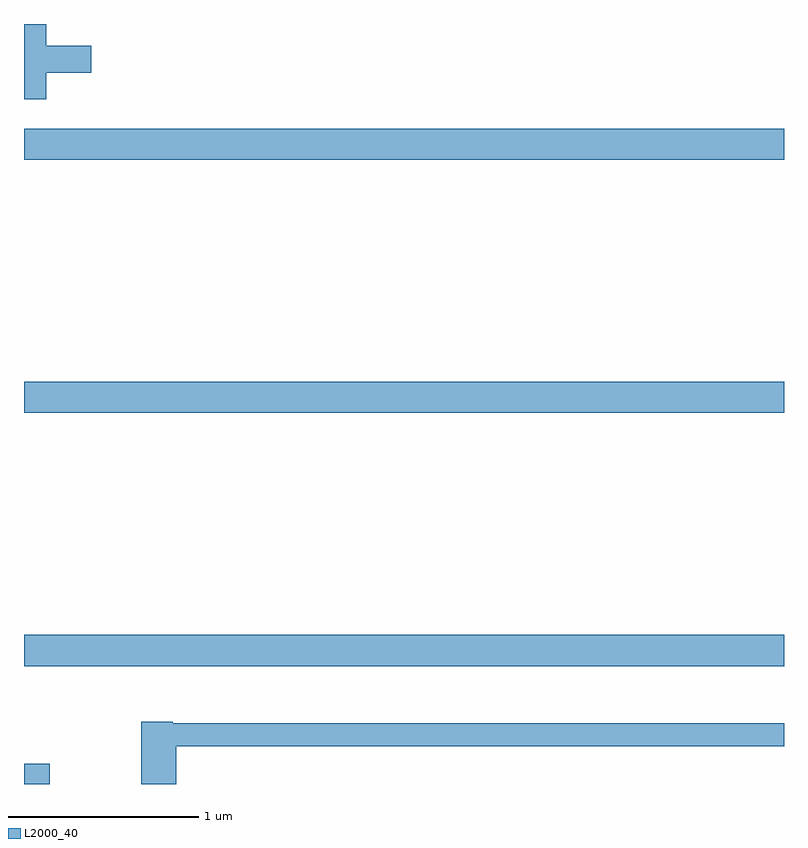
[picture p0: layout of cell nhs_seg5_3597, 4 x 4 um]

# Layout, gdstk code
import gdstk
lib = gdstk.Library(unit=1e-6, precision=1e-09)
def R(c, l, rs):  # rectangles x0, y0, x1, y1
    for r in rs: c.add(gdstk.rectangle(r[:2], r[2:], *l))
def A(c, l, x, y, w, h, nx, ny, dx, dy):  # array of equal rectangles
    R(c, l, [(x+i*dx, y+j*dy, x+i*dx+w, y+j*dy+h) for i in range(nx) for j in range(ny)])
def P(c, l, *ps):  # polygons
    for p in ps: c.add(gdstk.Polygon(p, *l))
L2000_40 = (2000, 40)

nhs_seg5_3597 = lib.new_cell('nhs_seg5_3597')
A(nhs_seg5_3597, L2000_40, 323, 863.42, 4, 0.164, 1, 3, 0, 1.332)
R(nhs_seg5_3597, L2000_40, [(323,862.799,323.135,862.906)])
P(nhs_seg5_3597, L2000_40, [(323.117,866.542),(323.353,866.542),(323.353,866.684),(323.117,866.684),(323.117,866.799),(323,866.799),(323,866.403),(323.117,866.403)],
  [(323.801,862.998),(327,862.998),(327,863.119),(323.784,863.119),(323.784,863.127),(323.618,863.127),(323.618,862.799),(323.801,862.799)])

lib.write_gds('nhs_seg5_3597.gds')
